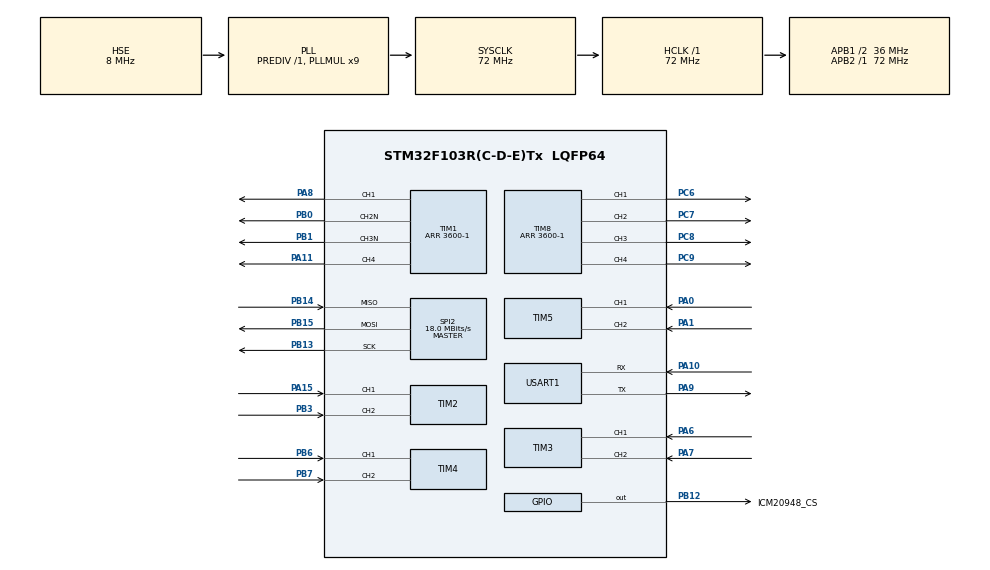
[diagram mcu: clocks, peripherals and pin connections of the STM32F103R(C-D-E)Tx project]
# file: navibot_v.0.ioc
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Dma.Request0=USART1_TX
Dma.Request1=USART1_RX
Dma.USART1_RX.1.Direction=DMA_PERIPH_TO_MEMORY
Dma.USART1_RX.1.Instance=DMA1_Channel5
Dma.USART1_RX.1.MemDataAlignment=DMA_MDATAALIGN_BYTE
Dma.USART1_RX.1.MemInc=DMA_MINC_ENABLE
Dma.USART1_RX.1.Mode=DMA_NORMAL
Dma.USART1_RX.1.PeriphDataAlignment=DMA_PDATAALIGN_BYTE
Dma.USART1_RX.1.PeriphInc=DMA_PINC_DISABLE
Dma.USART1_RX.1.Priority=DMA_PRIORITY_VERY_HIGH
Dma.USART1_TX.0.Direction=DMA_MEMORY_TO_PERIPH
Dma.USART1_TX.0.Instance=DMA1_Channel4
Dma.USART1_TX.0.MemDataAlignment=DMA_MDATAALIGN_BYTE
Dma.USART1_TX.0.MemInc=DMA_MINC_ENABLE
Dma.USART1_TX.0.Mode=DMA_NORMAL
Dma.USART1_TX.0.PeriphDataAlignment=DMA_PDATAALIGN_BYTE
Dma.USART1_TX.0.PeriphInc=DMA_PINC_DISABLE
Dma.USART1_TX.0.Priority=DMA_PRIORITY_MEDIUM
Mcu.Family=STM32F1
Mcu.Name=STM32F103R(C-D-E)Tx
Mcu.Package=LQFP64
NVIC.DMA1_Channel4_IRQn=true\:0\:0\:false\:false\:true\:false\:true\:true
NVIC.DMA1_Channel5_IRQn=true\:0\:0\:false\:false\:true\:false\:true\:true
NVIC.PriorityGroup=NVIC_PRIORITYGROUP_4
NVIC.USART1_IRQn=true\:0\:0\:false\:false\:true\:true\:true\:true
PA0-WKUP.Signal=S_TIM5_CH1
PA1.Signal=S_TIM5_CH2
PA10.Mode=Asynchronous
PA10.Signal=USART1_RX
PA11.Signal=S_TIM1_CH4
PA13.Mode=Serial_Wire
PA13.Signal=SYS_JTMS-SWDIO
PA14.Mode=Serial_Wire
PA14.Signal=SYS_JTCK-SWCLK
PA15.Signal=S_TIM2_CH1_ETR
PA6.Signal=S_TIM3_CH1
PA7.Signal=S_TIM3_CH2
PA8.Signal=S_TIM1_CH1
PA9.Mode=Asynchronous
PA9.Signal=USART1_TX
PB0.Mode=PWM Generation2 CH2N
PB0.Signal=TIM1_CH2N
PB1.Mode=PWM Generation3 CH3N
PB1.Signal=TIM1_CH3N
PB12.GPIO_Label=ICM20948_CS
PB12.Signal=GPIO_Output
PB13.Mode=Full_Duplex_Master
PB13.Signal=SPI2_SCK
PB14.Mode=Full_Duplex_Master
PB14.Signal=SPI2_MISO
PB15.Mode=Full_Duplex_Master
PB15.Signal=SPI2_MOSI
PB3.Signal=S_TIM2_CH2
PB6.Signal=S_TIM4_CH1
PB7.Signal=S_TIM4_CH2
PC6.Signal=S_TIM8_CH1
PC7.Signal=S_TIM8_CH2
PC8.Signal=S_TIM8_CH3
PC9.Signal=S_TIM8_CH4
PD0-OSC_IN.Mode=HSE-External-Oscillator
PD0-OSC_IN.Signal=RCC_OSC_IN
PD1-OSC_OUT.Mode=HSE-External-Oscillator
PD1-OSC_OUT.Signal=RCC_OSC_OUT
ProjectManager.HeapSize=0x200
ProjectManager.StackSize=0x400
ProjectManager.TargetToolchain=STM32CubeIDE
RCC.AHBFreq_Value=72000000
RCC.APB1CLKDivider=RCC_HCLK_DIV2
RCC.APB1Freq_Value=36000000
RCC.APB1TimFreq_Value=72000000
RCC.APB2Freq_Value=72000000
RCC.APB2TimFreq_Value=72000000
RCC.HCLKFreq_Value=72000000
RCC.PLLMUL=RCC_PLL_MUL9
RCC.PLLSourceVirtual=RCC_PLLSOURCE_HSE
RCC.SYSCLKFreq_VALUE=72000000
RCC.SYSCLKSource=RCC_SYSCLKSOURCE_PLLCLK
RCC.USBFreq_Value=72000000
SH.S_TIM1_CH1.0=TIM1_CH1,PWM Generation1 CH1
SH.S_TIM1_CH4.0=TIM1_CH4,PWM Generation4 CH4
SH.S_TIM2_CH1_ETR.0=TIM2_CH1,Encoder_Interface
SH.S_TIM2_CH2.0=TIM2_CH2,Encoder_Interface
SH.S_TIM3_CH1.0=TIM3_CH1,Encoder_Interface
SH.S_TIM3_CH2.0=TIM3_CH2,Encoder_Interface
SH.S_TIM4_CH1.0=TIM4_CH1,Encoder_Interface
SH.S_TIM4_CH2.0=TIM4_CH2,Encoder_Interface
SH.S_TIM5_CH1.0=TIM5_CH1,Encoder_Interface
SH.S_TIM5_CH2.0=TIM5_CH2,Encoder_Interface
SH.S_TIM8_CH1.0=TIM8_CH1,PWM Generation1 CH1
SH.S_TIM8_CH2.0=TIM8_CH2,PWM Generation2 CH2
SH.S_TIM8_CH3.0=TIM8_CH3,PWM Generation3 CH3
SH.S_TIM8_CH4.0=TIM8_CH4,PWM Generation4 CH4
SPI2.CalculateBaudRate=18.0 MBits/s
SPI2.Direction=SPI_DIRECTION_2LINES
SPI2.Mode=SPI_MODE_MASTER
SPI2.VirtualType=VM_MASTER
TIM1.Channel-PWM\ Generation1\ CH1=TIM_CHANNEL_1
TIM1.Channel-PWM\ Generation2\ CH2N=TIM_CHANNEL_2
TIM1.Channel-PWM\ Generation3\ CH3N=TIM_CHANNEL_3
TIM1.Channel-PWM\ Generation4\ CH4=TIM_CHANNEL_4
TIM1.Period=3600-1
TIM2.EncoderMode=TIM_ENCODERMODE_TI12
TIM3.EncoderMode=TIM_ENCODERMODE_TI12
TIM4.EncoderMode=TIM_ENCODERMODE_TI12
TIM5.EncoderMode=TIM_ENCODERMODE_TI12
TIM8.Channel-PWM\ Generation1\ CH1=TIM_CHANNEL_1
TIM8.Channel-PWM\ Generation2\ CH2=TIM_CHANNEL_2
TIM8.Channel-PWM\ Generation3\ CH3=TIM_CHANNEL_3
TIM8.Channel-PWM\ Generation4\ CH4=TIM_CHANNEL_4
TIM8.Period=3600-1
USART1.VirtualMode=VM_ASYNC
VP_TIM1_VS_ClockSourceINT.Mode=Internal
VP_TIM8_VS_ClockSourceINT.Mode=Internal
board=custom

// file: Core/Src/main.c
/* USER CODE BEGIN Header */
/**
  ******************************************************************************
  * @file           : main.c
  * @brief          : Main program body
  ******************************************************************************
  * @attention
  *
  * Copyright (c) 2025 STMicroelectronics.
  * All rights reserved.
  *
  * This software is licensed under terms that can be found in the LICENSE file
  * in the root directory of this software component.
  * If no LICENSE file comes with this software, it is provided AS-IS.
  *
  ******************************************************************************
  */
/* USER CODE END Header */
#include "main.h"

/* USER CODE BEGIN Includes */
#include "bsp.h"
#include "string.h"

//uint8_t uart_rx_buffer[1];  //erase

/* USER CODE END Includes */

SPI_HandleTypeDef hspi2;

TIM_HandleTypeDef htim1;
TIM_HandleTypeDef htim2;
TIM_HandleTypeDef htim3;
TIM_HandleTypeDef htim4;
TIM_HandleTypeDef htim5;
TIM_HandleTypeDef htim8;

UART_HandleTypeDef huart1;
DMA_HandleTypeDef hdma_usart1_tx;
DMA_HandleTypeDef hdma_usart1_rx;

void SystemClock_Config(void);
static void MX_GPIO_Init(void);
static void MX_DMA_Init(void);
static void MX_TIM1_Init(void);
static void MX_TIM8_Init(void);
static void MX_TIM2_Init(void);
static void MX_TIM3_Init(void);
static void MX_TIM4_Init(void);
static void MX_TIM5_Init(void);
static void MX_USART1_UART_Init(void);
static void MX_SPI2_Init(void);

int main(void)
{

  /* MCU Configuration--------------------------------------------------------*/

  /* Reset of all peripherals, Initializes the Flash interface and the Systick. */
  HAL_Init();

  /* Configure the system clock */
  SystemClock_Config();

  /* Initialize all configured peripherals */
  MX_GPIO_Init();
  MX_DMA_Init();
  MX_TIM1_Init();
  MX_TIM8_Init();
  MX_TIM2_Init();
  MX_TIM3_Init();
  MX_TIM4_Init();
  MX_TIM5_Init();
  MX_USART1_UART_Init();
  MX_SPI2_Init();
  /* USER CODE BEGIN 2 */
  Bsp_Init();

  /* USER CODE END 2 */

  /* Infinite loop */
  /* USER CODE BEGIN WHILE */

  uint32_t previous_time = HAL_GetTick();
  uint32_t previous_time1 = previous_time;

  int encoder[4] = {0};
  int encoder_prev[4] = {0};;   // holds previous readings

  while (1)
  {
	  if (HAL_GetTick() - previous_time1 > 40)
	  	 {
   		  ICM20948_Update_Raw_Data();
   		  ICM20948_Send_Raw_Data();
   		  previous_time1 = HAL_GetTick();

	  	 }

	  if (HAL_GetTick() - previous_time > 50)
	   	  {
		      previous_time = HAL_GetTick();                               //Update time
		      previous_time1 = previous_time;
		      Encoder_Update_Count();
	   		  Encoder_Get_ALL(encoder);
	   		  Encoder_Send_Velocity_Now(encoder,encoder_prev,0);
	   		  memcpy(encoder_prev, encoder, sizeof(encoder));

	   	  }

    /* USER CODE END WHILE */

  }
}

void SystemClock_Config(void)
{
  RCC_OscInitTypeDef RCC_OscInitStruct = {0};
  RCC_ClkInitTypeDef RCC_ClkInitStruct = {0};

  /** Initializes the RCC Oscillators according to the specified parameters
  * in the RCC_OscInitTypeDef structure.
  */
  RCC_OscInitStruct.OscillatorType = RCC_OSCILLATORTYPE_HSE;
  RCC_OscInitStruct.HSEState = RCC_HSE_ON;
  RCC_OscInitStruct.HSEPredivValue = RCC_HSE_PREDIV_DIV1;
  RCC_OscInitStruct.HSIState = RCC_HSI_ON;
  RCC_OscInitStruct.PLL.PLLState = RCC_PLL_ON;
  RCC_OscInitStruct.PLL.PLLSource = RCC_PLLSOURCE_HSE;
  RCC_OscInitStruct.PLL.PLLMUL = RCC_PLL_MUL9;
  if (HAL_RCC_OscConfig(&RCC_OscInitStruct) != HAL_OK)
  {
    Error_Handler();
  }

  /** Initializes the CPU, AHB and APB buses clocks
  */
  RCC_ClkInitStruct.ClockType = RCC_CLOCKTYPE_HCLK|RCC_CLOCKTYPE_SYSCLK
                              |RCC_CLOCKTYPE_PCLK1|RCC_CLOCKTYPE_PCLK2;
  RCC_ClkInitStruct.SYSCLKSource = RCC_SYSCLKSOURCE_PLLCLK;
  RCC_ClkInitStruct.AHBCLKDivider = RCC_SYSCLK_DIV1;
  RCC_ClkInitStruct.APB1CLKDivider = RCC_HCLK_DIV2;
  RCC_ClkInitStruct.APB2CLKDivider = RCC_HCLK_DIV1;

  if (HAL_RCC_ClockConfig(&RCC_ClkInitStruct, FLASH_LATENCY_2) != HAL_OK)
  {
    Error_Handler();
  }
}

static void MX_SPI2_Init(void)
{

  /* SPI2 parameter configuration*/
  hspi2.Instance = SPI2;
  hspi2.Init.Mode = SPI_MODE_MASTER;
  hspi2.Init.Direction = SPI_DIRECTION_2LINES;
  hspi2.Init.DataSize = SPI_DATASIZE_8BIT;
  hspi2.Init.CLKPolarity = SPI_POLARITY_LOW;
  hspi2.Init.CLKPhase = SPI_PHASE_1EDGE;
  hspi2.Init.NSS = SPI_NSS_SOFT;
  hspi2.Init.BaudRatePrescaler = SPI_BAUDRATEPRESCALER_2;
  hspi2.Init.FirstBit = SPI_FIRSTBIT_MSB;
  hspi2.Init.TIMode = SPI_TIMODE_DISABLE;
  hspi2.Init.CRCCalculation = SPI_CRCCALCULATION_DISABLE;
  hspi2.Init.CRCPolynomial = 10;
  if (HAL_SPI_Init(&hspi2) != HAL_OK)
  {
    Error_Handler();
  }

}

static void MX_TIM1_Init(void)
{

  TIM_ClockConfigTypeDef sClockSourceConfig = {0};
  TIM_MasterConfigTypeDef sMasterConfig = {0};
  TIM_OC_InitTypeDef sConfigOC = {0};
  TIM_BreakDeadTimeConfigTypeDef sBreakDeadTimeConfig = {0};

  htim1.Instance = TIM1;
  htim1.Init.Prescaler = 0;
  htim1.Init.CounterMode = TIM_COUNTERMODE_UP;
  htim1.Init.Period = 3600-1;
  htim1.Init.ClockDivision = TIM_CLOCKDIVISION_DIV1;
  htim1.Init.RepetitionCounter = 0;
  htim1.Init.AutoReloadPreload = TIM_AUTORELOAD_PRELOAD_DISABLE;
  if (HAL_TIM_Base_Init(&htim1) != HAL_OK)
  {
    Error_Handler();
  }
  sClockSourceConfig.ClockSource = TIM_CLOCKSOURCE_INTERNAL;
  if (HAL_TIM_ConfigClockSource(&htim1, &sClockSourceConfig) != HAL_OK)
  {
    Error_Handler();
  }
  if (HAL_TIM_PWM_Init(&htim1) != HAL_OK)
  {
    Error_Handler();
  }
  sMasterConfig.MasterOutputTrigger = TIM_TRGO_RESET;
  sMasterConfig.MasterSlaveMode = TIM_MASTERSLAVEMODE_DISABLE;
  if (HAL_TIMEx_MasterConfigSynchronization(&htim1, &sMasterConfig) != HAL_OK)
  {
    Error_Handler();
  }
  sConfigOC.OCMode = TIM_OCMODE_PWM1;
  sConfigOC.Pulse = 0;
  sConfigOC.OCPolarity = TIM_OCPOLARITY_HIGH;
  sConfigOC.OCNPolarity = TIM_OCNPOLARITY_HIGH;
  sConfigOC.OCFastMode = TIM_OCFAST_DISABLE;
  sConfigOC.OCIdleState = TIM_OCIDLESTATE_RESET;
  sConfigOC.OCNIdleState = TIM_OCNIDLESTATE_RESET;
  if (HAL_TIM_PWM_ConfigChannel(&htim1, &sConfigOC, TIM_CHANNEL_1) != HAL_OK)
  {
    Error_Handler();
  }
  if (HAL_TIM_PWM_ConfigChannel(&htim1, &sConfigOC, TIM_CHANNEL_2) != HAL_OK)
  {
    Error_Handler();
  }
  if (HAL_TIM_PWM_ConfigChannel(&htim1, &sConfigOC, TIM_CHANNEL_3) != HAL_OK)
  {
    Error_Handler();
  }
  if (HAL_TIM_PWM_ConfigChannel(&htim1, &sConfigOC, TIM_CHANNEL_4) != HAL_OK)
  {
    Error_Handler();
  }
  sBreakDeadTimeConfig.OffStateRunMode = TIM_OSSR_DISABLE;
  sBreakDeadTimeConfig.OffStateIDLEMode = TIM_OSSI_DISABLE;
  sBreakDeadTimeConfig.LockLevel = TIM_LOCKLEVEL_OFF;
  sBreakDeadTimeConfig.DeadTime = 0;
  sBreakDeadTimeConfig.BreakState = TIM_BREAK_DISABLE;
  sBreakDeadTimeConfig.BreakPolarity = TIM_BREAKPOLARITY_HIGH;
  sBreakDeadTimeConfig.AutomaticOutput = TIM_AUTOMATICOUTPUT_DISABLE;
  if (HAL_TIMEx_ConfigBreakDeadTime(&htim1, &sBreakDeadTimeConfig) != HAL_OK)
  {
    Error_Handler();
  }
  HAL_TIM_MspPostInit(&htim1);

}

static void MX_TIM2_Init(void)
{

  TIM_Encoder_InitTypeDef sConfig = {0};
  TIM_MasterConfigTypeDef sMasterConfig = {0};

  htim2.Instance = TIM2;
  htim2.Init.Prescaler = 0;
  htim2.Init.CounterMode = TIM_COUNTERMODE_UP;
  htim2.Init.Period = 65535;
  htim2.Init.ClockDivision = TIM_CLOCKDIVISION_DIV1;
  htim2.Init.AutoReloadPreload = TIM_AUTORELOAD_PRELOAD_DISABLE;
  sConfig.EncoderMode = TIM_ENCODERMODE_TI12;
  sConfig.IC1Polarity = TIM_ICPOLARITY_RISING;
  sConfig.IC1Selection = TIM_ICSELECTION_DIRECTTI;
  sConfig.IC1Prescaler = TIM_ICPSC_DIV1;
  sConfig.IC1Filter = 0;
  sConfig.IC2Polarity = TIM_ICPOLARITY_RISING;
  sConfig.IC2Selection = TIM_ICSELECTION_DIRECTTI;
  sConfig.IC2Prescaler = TIM_ICPSC_DIV1;
  sConfig.IC2Filter = 0;
  if (HAL_TIM_Encoder_Init(&htim2, &sConfig) != HAL_OK)
  {
    Error_Handler();
  }
  sMasterConfig.MasterOutputTrigger = TIM_TRGO_RESET;
  sMasterConfig.MasterSlaveMode = TIM_MASTERSLAVEMODE_DISABLE;
  if (HAL_TIMEx_MasterConfigSynchronization(&htim2, &sMasterConfig) != HAL_OK)
  {
    Error_Handler();
  }

}

static void MX_TIM3_Init(void)
{

  TIM_Encoder_InitTypeDef sConfig = {0};
  TIM_MasterConfigTypeDef sMasterConfig = {0};

  htim3.Instance = TIM3;
  htim3.Init.Prescaler = 0;
  htim3.Init.CounterMode = TIM_COUNTERMODE_UP;
  htim3.Init.Period = 65535;
  htim3.Init.ClockDivision = TIM_CLOCKDIVISION_DIV1;
  htim3.Init.AutoReloadPreload = TIM_AUTORELOAD_PRELOAD_DISABLE;
  sConfig.EncoderMode = TIM_ENCODERMODE_TI12;
  sConfig.IC1Polarity = TIM_ICPOLARITY_RISING;
  sConfig.IC1Selection = TIM_ICSELECTION_DIRECTTI;
  sConfig.IC1Prescaler = TIM_ICPSC_DIV1;
  sConfig.IC1Filter = 0;
  sConfig.IC2Polarity = TIM_ICPOLARITY_RISING;
  sConfig.IC2Selection = TIM_ICSELECTION_DIRECTTI;
  sConfig.IC2Prescaler = TIM_ICPSC_DIV1;
  sConfig.IC2Filter = 0;
  if (HAL_TIM_Encoder_Init(&htim3, &sConfig) != HAL_OK)
  {
    Error_Handler();
  }
  sMasterConfig.MasterOutputTrigger = TIM_TRGO_RESET;
  sMasterConfig.MasterSlaveMode = TIM_MASTERSLAVEMODE_DISABLE;
  if (HAL_TIMEx_MasterConfigSynchronization(&htim3, &sMasterConfig) != HAL_OK)
  {
    Error_Handler();
  }

}

static void MX_TIM4_Init(void)
{

  TIM_Encoder_InitTypeDef sConfig = {0};
  TIM_MasterConfigTypeDef sMasterConfig = {0};

  htim4.Instance = TIM4;
  htim4.Init.Prescaler = 0;
  htim4.Init.CounterMode = TIM_COUNTERMODE_UP;
  htim4.Init.Period = 65535;
  htim4.Init.ClockDivision = TIM_CLOCKDIVISION_DIV1;
  htim4.Init.AutoReloadPreload = TIM_AUTORELOAD_PRELOAD_DISABLE;
  sConfig.EncoderMode = TIM_ENCODERMODE_TI12;
  sConfig.IC1Polarity = TIM_ICPOLARITY_RISING;
  sConfig.IC1Selection = TIM_ICSELECTION_DIRECTTI;
  sConfig.IC1Prescaler = TIM_ICPSC_DIV1;
  sConfig.IC1Filter = 0;
  sConfig.IC2Polarity = TIM_ICPOLARITY_RISING;
  sConfig.IC2Selection = TIM_ICSELECTION_DIRECTTI;
  sConfig.IC2Prescaler = TIM_ICPSC_DIV1;
  sConfig.IC2Filter = 0;
  if (HAL_TIM_Encoder_Init(&htim4, &sConfig) != HAL_OK)
  {
    Error_Handler();
  }
  sMasterConfig.MasterOutputTrigger = TIM_TRGO_RESET;
  sMasterConfig.MasterSlaveMode = TIM_MASTERSLAVEMODE_DISABLE;
  if (HAL_TIMEx_MasterConfigSynchronization(&htim4, &sMasterConfig) != HAL_OK)
  {
    Error_Handler();
  }

}

static void MX_TIM5_Init(void)
{

  TIM_Encoder_InitTypeDef sConfig = {0};
  TIM_MasterConfigTypeDef sMasterConfig = {0};

  htim5.Instance = TIM5;
  htim5.Init.Prescaler = 0;
  htim5.Init.CounterMode = TIM_COUNTERMODE_UP;
  htim5.Init.Period = 65535;
  htim5.Init.ClockDivision = TIM_CLOCKDIVISION_DIV1;
  htim5.Init.AutoReloadPreload = TIM_AUTORELOAD_PRELOAD_DISABLE;
  sConfig.EncoderMode = TIM_ENCODERMODE_TI12;
  sConfig.IC1Polarity = TIM_ICPOLARITY_RISING;
  sConfig.IC1Selection = TIM_ICSELECTION_DIRECTTI;
  sConfig.IC1Prescaler = TIM_ICPSC_DIV1;
  sConfig.IC1Filter = 0;
  sConfig.IC2Polarity = TIM_ICPOLARITY_RISING;
  sConfig.IC2Selection = TIM_ICSELECTION_DIRECTTI;
  sConfig.IC2Prescaler = TIM_ICPSC_DIV1;
  sConfig.IC2Filter = 0;
  if (HAL_TIM_Encoder_Init(&htim5, &sConfig) != HAL_OK)
  {
    Error_Handler();
  }
  sMasterConfig.MasterOutputTrigger = TIM_TRGO_RESET;
  sMasterConfig.MasterSlaveMode = TIM_MASTERSLAVEMODE_DISABLE;
  if (HAL_TIMEx_MasterConfigSynchronization(&htim5, &sMasterConfig) != HAL_OK)
  {
    Error_Handler();
  }

}

static void MX_TIM8_Init(void)
{

  TIM_ClockConfigTypeDef sClockSourceConfig = {0};
  TIM_MasterConfigTypeDef sMasterConfig = {0};
  TIM_OC_InitTypeDef sConfigOC = {0};
  TIM_BreakDeadTimeConfigTypeDef sBreakDeadTimeConfig = {0};

  htim8.Instance = TIM8;
  htim8.Init.Prescaler = 0;
  htim8.Init.CounterMode = TIM_COUNTERMODE_UP;
  htim8.Init.Period = 3600-1;
  htim8.Init.ClockDivision = TIM_CLOCKDIVISION_DIV1;
  htim8.Init.RepetitionCounter = 0;
  htim8.Init.AutoReloadPreload = TIM_AUTORELOAD_PRELOAD_DISABLE;
  if (HAL_TIM_Base_Init(&htim8) != HAL_OK)
  {
    Error_Handler();
  }
  sClockSourceConfig.ClockSource = TIM_CLOCKSOURCE_INTERNAL;
  if (HAL_TIM_ConfigClockSource(&htim8, &sClockSourceConfig) != HAL_OK)
  {
    Error_Handler();
  }
  if (HAL_TIM_PWM_Init(&htim8) != HAL_OK)
  {
    Error_Handler();
  }
  sMasterConfig.MasterOutputTrigger = TIM_TRGO_RESET;
  sMasterConfig.MasterSlaveMode = TIM_MASTERSLAVEMODE_DISABLE;
  if (HAL_TIMEx_MasterConfigSynchronization(&htim8, &sMasterConfig) != HAL_OK)
  {
    Error_Handler();
  }
  sConfigOC.OCMode = TIM_OCMODE_PWM1;
  sConfigOC.Pulse = 0;
  sConfigOC.OCPolarity = TIM_OCPOLARITY_HIGH;
  sConfigOC.OCNPolarity = TIM_OCNPOLARITY_HIGH;
  sConfigOC.OCFastMode = TIM_OCFAST_DISABLE;
  sConfigOC.OCIdleState = TIM_OCIDLESTATE_RESET;
  sConfigOC.OCNIdleState = TIM_OCNIDLESTATE_RESET;
  if (HAL_TIM_PWM_ConfigChannel(&htim8, &sConfigOC, TIM_CHANNEL_1) != HAL_OK)
  {
    Error_Handler();
  }
  if (HAL_TIM_PWM_ConfigChannel(&htim8, &sConfigOC, TIM_CHANNEL_2) != HAL_OK)
  {
    Error_Handler();
  }
  if (HAL_TIM_PWM_ConfigChannel(&htim8, &sConfigOC, TIM_CHANNEL_3) != HAL_OK)
  {
    Error_Handler();
  }
  if (HAL_TIM_PWM_ConfigChannel(&htim8, &sConfigOC, TIM_CHANNEL_4) != HAL_OK)
  {
    Error_Handler();
  }
  sBreakDeadTimeConfig.OffStateRunMode = TIM_OSSR_DISABLE;
  sBreakDeadTimeConfig.OffStateIDLEMode = TIM_OSSI_DISABLE;
  sBreakDeadTimeConfig.LockLevel = TIM_LOCKLEVEL_OFF;
  sBreakDeadTimeConfig.DeadTime = 0;
  sBreakDeadTimeConfig.BreakState = TIM_BREAK_DISABLE;
  sBreakDeadTimeConfig.BreakPolarity = TIM_BREAKPOLARITY_HIGH;
  sBreakDeadTimeConfig.AutomaticOutput = TIM_AUTOMATICOUTPUT_DISABLE;
  if (HAL_TIMEx_ConfigBreakDeadTime(&htim8, &sBreakDeadTimeConfig) != HAL_OK)
  {
    Error_Handler();
  }
  HAL_TIM_MspPostInit(&htim8);

}

static void MX_USART1_UART_Init(void)
{

  huart1.Instance = USART1;
  huart1.Init.BaudRate = 115200;
  huart1.Init.WordLength = UART_WORDLENGTH_8B;
  huart1.Init.StopBits = UART_STOPBITS_1;
  huart1.Init.Parity = UART_PARITY_NONE;
  huart1.Init.Mode = UART_MODE_TX_RX;
  huart1.Init.HwFlowCtl = UART_HWCONTROL_NONE;
  huart1.Init.OverSampling = UART_OVERSAMPLING_16;
  if (HAL_UART_Init(&huart1) != HAL_OK)
  {
    Error_Handler();
  }

}

static void MX_DMA_Init(void)
{

  /* DMA controller clock enable */
  __HAL_RCC_DMA1_CLK_ENABLE();

  /* DMA interrupt init */
  /* DMA1_Channel4_IRQn interrupt configuration */
  HAL_NVIC_SetPriority(DMA1_Channel4_IRQn, 0, 0);
  HAL_NVIC_EnableIRQ(DMA1_Channel4_IRQn);
  /* DMA1_Channel5_IRQn interrupt configuration */
  HAL_NVIC_SetPriority(DMA1_Channel5_IRQn, 0, 0);
  HAL_NVIC_EnableIRQ(DMA1_Channel5_IRQn);

}

static void MX_GPIO_Init(void)
{
  GPIO_InitTypeDef GPIO_InitStruct = {0};

  /* GPIO Ports Clock Enable */
  __HAL_RCC_GPIOD_CLK_ENABLE();
  __HAL_RCC_GPIOA_CLK_ENABLE();
  __HAL_RCC_GPIOB_CLK_ENABLE();
  __HAL_RCC_GPIOC_CLK_ENABLE();

  /*Configure GPIO pin Output Level */
  HAL_GPIO_WritePin(ICM20948_CS_GPIO_Port, ICM20948_CS_Pin, GPIO_PIN_RESET);

  /*Configure GPIO pin : ICM20948_CS_Pin */
  GPIO_InitStruct.Pin = ICM20948_CS_Pin;
  GPIO_InitStruct.Mode = GPIO_MODE_OUTPUT_PP;
  GPIO_InitStruct.Pull = GPIO_NOPULL;
  GPIO_InitStruct.Speed = GPIO_SPEED_FREQ_LOW;
  HAL_GPIO_Init(ICM20948_CS_GPIO_Port, &GPIO_InitStruct);

}

void Error_Handler(void)
{
  __disable_irq();
  while (1)
  {
  }
}
